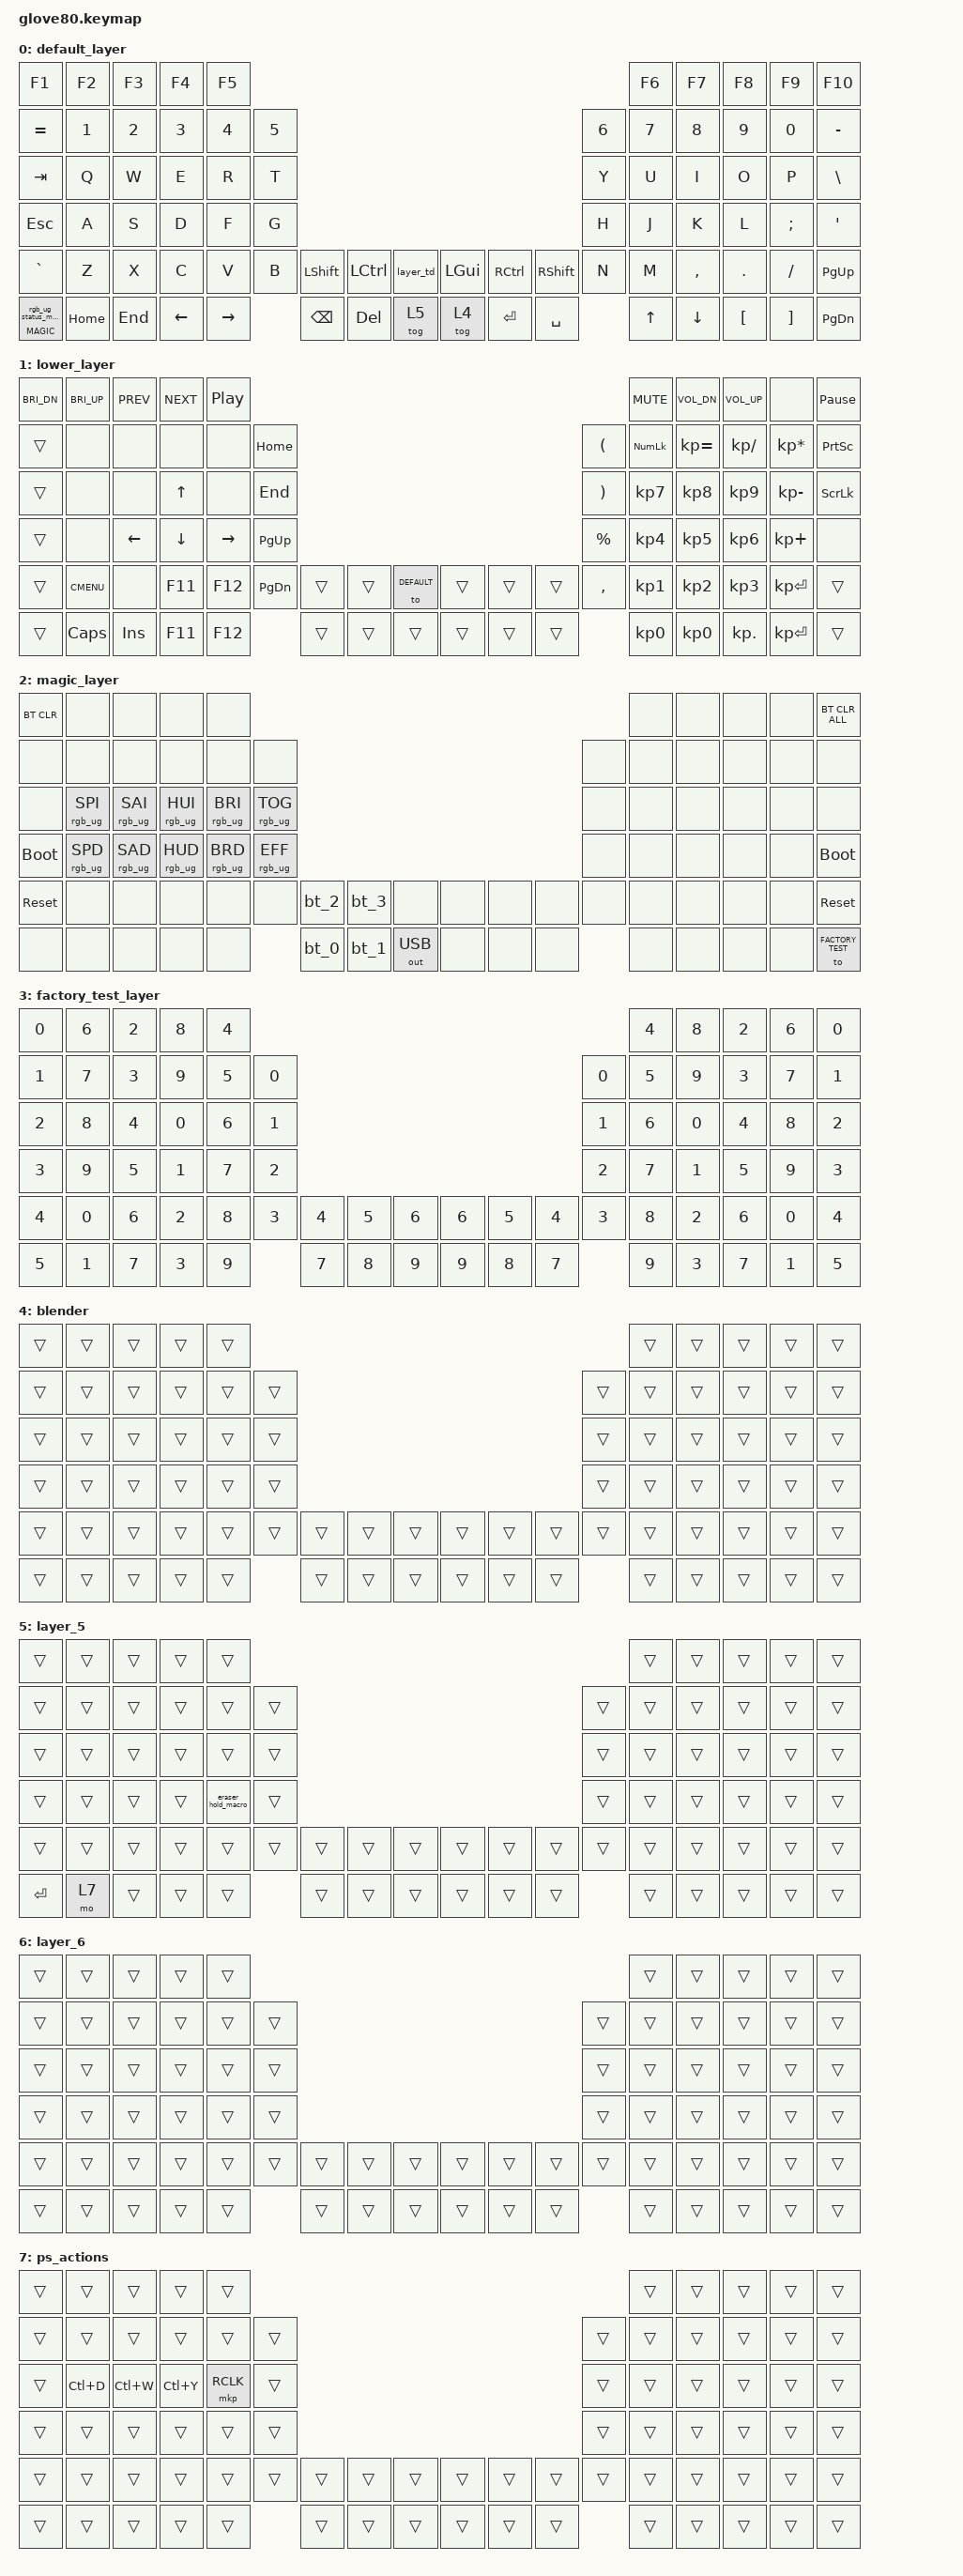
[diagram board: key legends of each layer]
/*
 * Copyright (c) 2020 The ZMK Contributors
 *
 * SPDX-License-Identifier: MIT
 */

#include <behaviors.dtsi>
#include <dt-bindings/zmk/bt.h>
#include <dt-bindings/zmk/keys.h>
#include <dt-bindings/zmk/outputs.h>
#include <dt-bindings/zmk/rgb.h>
#include <dt-bindings/zmk/pointing.h>

#define HYPER LC(LS(LG(LALT)))

// layers

#define DEFAULT 0
#define LOWER 1
#define MAGIC 2
#define FACTORY_TEST 3

/ {
    behaviors {
        // For the "layer" key, it'd nice to be able to use it as either a shift or a toggle.
        // Configure it as a tap dance, so the first tap (or hold) is a &mo and the second tap is a &to

        layer_td: tap_dance_0 {
            compatible = "zmk,behavior-tap-dance";
            label = "LAYER_TAP_DANCE";
            #binding-cells = <0>;
            tapping-term-ms = <200>;
            bindings = <&mo LOWER>, <&to LOWER>;
        };

        magic: magic_hold_tap {
            compatible = "zmk,behavior-hold-tap";
            label = "MAGIC_HOLD_TAP";
            #binding-cells = <2>;
            flavor = "tap-preferred";
            tapping-term-ms = <200>;
            bindings = <&mo>, <&rgb_ug_status_macro>;
        };
    };
    macros {
        rgb_ug_status_macro: rgb_ug_status_macro_0 {
            label = "RGB_UG_STATUS";
            compatible = "zmk,behavior-macro";
            #binding-cells = <0>;
            bindings = <&rgb_ug RGB_STATUS>;
        };

        bt_0: bt_profile_macro_0 {
            label = "BT_0";
            compatible = "zmk,behavior-macro";
            #binding-cells = <0>;
            bindings = <&out OUT_BLE &bt BT_SEL 0>;
        };

        bt_1: bt_profile_macro_1 {
            label = "BT_1";
            compatible = "zmk,behavior-macro";
            #binding-cells = <0>;
            bindings = <&out OUT_BLE &bt BT_SEL 1>;
        };

        bt_2: bt_profile_macro_2 {
            label = "BT_2";
            compatible = "zmk,behavior-macro";
            #binding-cells = <0>;
            bindings = <&out OUT_BLE &bt BT_SEL 2>;
        };

        bt_3: bt_profile_macro_3 {
            label = "BT_3";
            compatible = "zmk,behavior-macro";
            #binding-cells = <0>;
            bindings = <&out OUT_BLE &bt BT_SEL 3>;
        };

        eraser_hold_macro: eraser_hold_macro_0 {
            label = "ERASER_HOLD_MACRO";
            compatible = "zmk,behavior-macro";
            #binding-cells = <0>;
            bindings = <&macro_tap &kp F &macro_pause_for_release &macro_tap &kp B>;
        };
    };
    combos {
        compatible = "zmk,combos";

        combo_undo {
            timeout-ms = <50>;
            key-positions = <37 38>;
            bindings = <&kp LC(Z)>;
            layers = <5>;
        };

        combo_redo {
            timeout-ms = <50>;
            key-positions = <38 39>;
            bindings = <&kp LS(LC(Z))>;
            layers = <5>;
        };

        combo_save {
            timeout-ms = <50>;
            key-positions = <35 36>;
            bindings = <&kp LC(S)>;
            layers = <5>;
        };

        combo_transform {
            timeout-ms = <50>;
            key-positions = <24 25>;
            bindings = <&kp LC(T)>;
            layers = <5>;
        };

        combo_merge_layers {
            timeout-ms = <50>;
            key-positions = <25 26>;
            bindings = <&kp F2>;
            layers = <5>;
        };

        combo_hue_saturation {
            timeout-ms = <50>;
            key-positions = <26 27>;
            bindings = <&kp LC(U)>;
            layers = <5>;
        };

        combo_levels {
            timeout-ms = <50>;
            key-positions = <23 24>;
            bindings = <&kp LC(L)>;
            layers = <5>;
        };
    };
    keymap {
        compatible = "zmk,keymap";

        default_layer {
            bindings = <
&kp F1          &kp F2    &kp F3   &kp F4    &kp F5                                                                                      &kp F6  &kp F7     &kp F8    &kp F9    &kp F10
&kp EQUAL       &kp N1    &kp N2   &kp N3    &kp N4     &kp N5                                                                   &kp N6  &kp N7  &kp N8     &kp N9    &kp N0    &kp MINUS
&kp TAB         &kp Q     &kp W    &kp E     &kp R      &kp T                                                                    &kp Y   &kp U   &kp I      &kp O     &kp P     &kp BSLH
&kp ESC         &kp A     &kp S    &kp D     &kp F      &kp G                                                                    &kp H   &kp J   &kp K      &kp L     &kp SEMI  &kp SQT
&kp GRAVE       &kp Z     &kp X    &kp C     &kp V      &kp B   &kp LSHFT  &kp LCTRL  &layer_td  &kp LGUI  &kp RCTRL  &kp RSHFT  &kp N   &kp M   &kp COMMA  &kp DOT   &kp FSLH  &kp PG_UP
&magic MAGIC 0  &kp HOME  &kp END  &kp LEFT  &kp RIGHT          &kp BSPC   &kp DEL    &tog 5     &tog 4    &kp RET    &kp SPACE          &kp UP  &kp DOWN   &kp LBKT  &kp RBKT  &kp PG_DN
            >;
        };

        lower_layer {
            bindings = <
&kp C_BRI_DN  &kp C_BRI_UP  &kp C_PREV  &kp C_NEXT  &kp C_PP                                                                              &kp C_MUTE  &kp C_VOL_DN  &kp C_VOL_UP   &none            &kp PAUSE_BREAK
&trans        &none         &none       &none       &none      &kp HOME                                                        &kp LPAR   &kp KP_NUM  &kp KP_EQUAL  &kp KP_DIVIDE  &kp KP_MULTIPLY  &kp PSCRN
&trans        &none         &none       &kp UP      &none      &kp END                                                         &kp RPAR   &kp KP_N7   &kp KP_N8     &kp KP_N9      &kp KP_MINUS     &kp SLCK
&trans        &none         &kp LEFT    &kp DOWN    &kp RIGHT  &kp PG_UP                                                       &kp PRCNT  &kp KP_N4   &kp KP_N5     &kp KP_N6      &kp KP_PLUS      &none
&trans        &kp K_CMENU   &none       &kp F11     &kp F12    &kp PG_DN  &trans  &trans  &to DEFAULT  &trans  &trans  &trans  &kp COMMA  &kp KP_N1   &kp KP_N2     &kp KP_N3      &kp KP_ENTER     &trans
&trans        &kp CAPS      &kp INS     &kp F11     &kp F12               &trans  &trans  &trans       &trans  &trans  &trans             &kp KP_N0   &kp KP_N0     &kp KP_DOT     &kp KP_ENTER     &trans
            >;
        };

        magic_layer {
            bindings = <
&bt BT_CLR   &none            &none            &none            &none                                                                                     &none  &none  &none  &none  &bt BT_CLR_ALL
&none        &none            &none            &none            &none            &none                                                             &none  &none  &none  &none  &none  &none
&none        &rgb_ug RGB_SPI  &rgb_ug RGB_SAI  &rgb_ug RGB_HUI  &rgb_ug RGB_BRI  &rgb_ug RGB_TOG                                                   &none  &none  &none  &none  &none  &none
&bootloader  &rgb_ug RGB_SPD  &rgb_ug RGB_SAD  &rgb_ug RGB_HUD  &rgb_ug RGB_BRD  &rgb_ug RGB_EFF                                                   &none  &none  &none  &none  &none  &bootloader
&sys_reset   &none            &none            &none            &none            &none            &bt_2  &bt_3  &none         &none  &none  &none  &none  &none  &none  &none  &none  &sys_reset
&none        &none            &none            &none            &none                             &bt_0  &bt_1  &out OUT_USB  &none  &none  &none         &none  &none  &none  &none  &to FACTORY_TEST
            >;
        };

        factory_test_layer {
            bindings = <
&kp N0  &kp N6  &kp N2  &kp N8  &kp N4                                                                  &kp N4  &kp N8  &kp N2  &kp N6  &kp N0
&kp N1  &kp N7  &kp N3  &kp N9  &kp N5  &kp N0                                                  &kp N0  &kp N5  &kp N9  &kp N3  &kp N7  &kp N1
&kp N2  &kp N8  &kp N4  &kp N0  &kp N6  &kp N1                                                  &kp N1  &kp N6  &kp N0  &kp N4  &kp N8  &kp N2
&kp N3  &kp N9  &kp N5  &kp N1  &kp N7  &kp N2                                                  &kp N2  &kp N7  &kp N1  &kp N5  &kp N9  &kp N3
&kp N4  &kp N0  &kp N6  &kp N2  &kp N8  &kp N3  &kp N4  &kp N5  &kp N6  &kp N6  &kp N5  &kp N4  &kp N3  &kp N8  &kp N2  &kp N6  &kp N0  &kp N4
&kp N5  &kp N1  &kp N7  &kp N3  &kp N9          &kp N7  &kp N8  &kp N9  &kp N9  &kp N8  &kp N7          &kp N9  &kp N3  &kp N7  &kp N1  &kp N5
            >;
        };

        blender {
            bindings = <
&trans  &trans  &trans  &trans  &trans                                                                  &trans  &trans  &trans  &trans  &trans
&trans  &trans  &trans  &trans  &trans  &trans                                                  &trans  &trans  &trans  &trans  &trans  &trans
&trans  &trans  &trans  &trans  &trans  &trans                                                  &trans  &trans  &trans  &trans  &trans  &trans
&trans  &trans  &trans  &trans  &trans  &trans                                                  &trans  &trans  &trans  &trans  &trans  &trans
&trans  &trans  &trans  &trans  &trans  &trans  &trans  &trans  &trans  &trans  &trans  &trans  &trans  &trans  &trans  &trans  &trans  &trans
&trans  &trans  &trans  &trans  &trans          &trans  &trans  &trans  &trans  &trans  &trans          &trans  &trans  &trans  &trans  &trans
            >;
        };
        layer_5 {
            bindings = <
&trans  &trans  &trans        &trans    &trans                                                                    &trans  &trans  &trans  &trans  &trans
&trans  &trans  &trans        &trans    &trans    &trans                                                  &trans  &trans  &trans  &trans  &trans  &trans
&trans  &trans  &trans        &trans    &trans    &trans                                                  &trans  &trans  &trans  &trans  &trans  &trans
&trans  &trans  &trans        &trans    &eraser_hold_macro  &trans                                        &trans  &trans  &trans  &trans  &trans  &trans
&trans  &trans  &trans        &trans    &trans    &trans  &trans  &trans  &trans  &trans  &trans  &trans  &trans  &trans  &trans  &trans  &trans  &trans
&kp RET  &mo 7  &trans        &trans    &trans            &trans  &trans  &trans  &trans  &trans  &trans          &trans  &trans  &trans  &trans  &trans
            >;
        };

        layer_6 {
            bindings = <
&trans  &trans  &trans  &trans  &trans                                                                  &trans  &trans  &trans  &trans  &trans
&trans  &trans  &trans  &trans  &trans  &trans                                                  &trans  &trans  &trans  &trans  &trans  &trans
&trans  &trans  &trans  &trans  &trans  &trans                                                  &trans  &trans  &trans  &trans  &trans  &trans
&trans  &trans  &trans  &trans  &trans  &trans                                                  &trans  &trans  &trans  &trans  &trans  &trans
&trans  &trans  &trans  &trans  &trans  &trans  &trans  &trans  &trans  &trans  &trans  &trans  &trans  &trans  &trans  &trans  &trans  &trans
&trans  &trans  &trans  &trans  &trans          &trans  &trans  &trans  &trans  &trans  &trans          &trans  &trans  &trans  &trans  &trans
            >;
        };

        ps_actions {
            bindings = <
&trans  &trans     &trans     &trans      &trans                                                                  &trans  &trans  &trans  &trans  &trans
&trans  &trans     &trans     &trans      &trans    &trans                                                  &trans  &trans  &trans  &trans  &trans  &trans
&trans  &kp LC(D)  &kp LC(W)  &kp LC(Y)   &mkp RCLK  &trans                                                  &trans  &trans  &trans  &trans  &trans  &trans
&trans  &trans     &trans     &trans      &trans    &trans                                                  &trans  &trans  &trans  &trans  &trans  &trans
&trans  &trans     &trans     &trans      &trans    &trans  &trans  &trans  &trans  &trans  &trans  &trans  &trans  &trans  &trans  &trans  &trans  &trans
&trans  &trans     &trans     &trans      &trans            &trans  &trans  &trans  &trans  &trans  &trans          &trans  &trans  &trans  &trans  &trans
            >;
        };
    };
};
